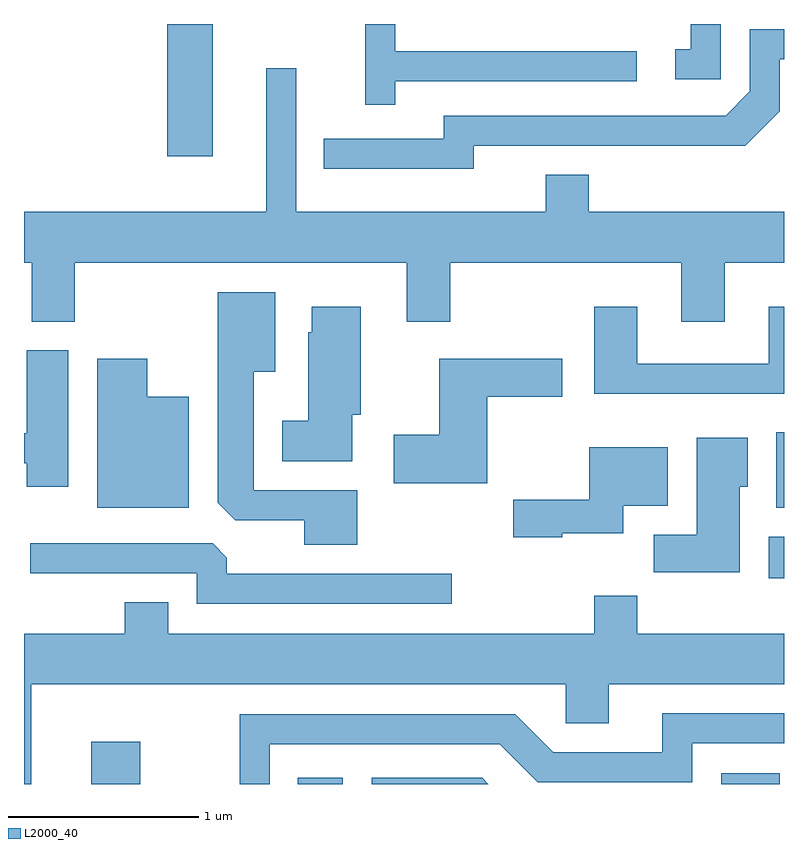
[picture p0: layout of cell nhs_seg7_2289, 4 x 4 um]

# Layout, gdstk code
import gdstk
lib = gdstk.Library(unit=1e-6, precision=1e-09)
def R(c, l, rs):  # rectangles x0, y0, x1, y1
    for r in rs: c.add(gdstk.rectangle(r[:2], r[2:], *l))
def P(c, l, *ps):  # polygons
    for p in ps: c.add(gdstk.Polygon(p, *l))
L2000_40 = (2000, 40)

nhs_seg7_2289 = lib.new_cell('nhs_seg7_2289')
R(nhs_seg7_2289, L2000_40, [(255.966,1698.252,256.224,1698.474), (257.053,1698.252,257.289,1698.284), (259.281,1698.252,259.589,1698.309), (259.531,1699.336,259.611,1699.554), (259.571,1699.706,259.611,1700.104), (256.366,1701.556,256.604,1702.252)])
P(nhs_seg7_2289, L2000_40, [(259.279,1702.252),(259.121,1702.252),(259.121,1702.119),(259.038,1702.119),(259.038,1701.961),(259.279,1701.961)],
  [(257.564,1701.951),(258.837,1701.951),(258.837,1702.109),(257.564,1702.109),(257.564,1702.252),(257.406,1702.252),(257.406,1701.828),(257.564,1701.828)],
  [(257.979,1701.611),(259.407,1701.611),(259.589,1701.794),(259.589,1702.066),(259.611,1702.066),(259.611,1702.224),(259.431,1702.224),(259.431,1701.897),(259.304,1701.769),(257.821,1701.769),(257.821,1701.649),(257.188,1701.649),(257.188,1701.491),(257.979,1701.491)],
  [(255.879,1700.996),(257.626,1700.996),(257.626,1700.686),(257.854,1700.686),(257.854,1700.996),(259.071,1700.996),(259.071,1700.686),(259.299,1700.686),(259.299,1700.996),(259.611,1700.996),(259.611,1701.264),(258.584,1701.264),(258.584,1701.459),(258.356,1701.459),(258.356,1701.264),(257.044,1701.264),(257.044,1702.018),(256.886,1702.018),(256.886,1701.264),(255.611,1701.264),(255.611,1700.996),(255.651,1700.996),(255.651,1700.686),(255.879,1700.686)],
  [(257.364,1699.799),(256.819,1699.799),(256.819,1700.421),(256.934,1700.421),(256.934,1700.839),(256.631,1700.839),(256.631,1699.732),(256.722,1699.641),(257.086,1699.641),(257.086,1699.511),(257.364,1699.511)],
  [(259.611,1700.764),(259.531,1700.764),(259.531,1700.464),(258.839,1700.464),(258.839,1700.764),(258.611,1700.764),(258.611,1700.306),(259.611,1700.306)],
  [(257.339,1700.196),(257.384,1700.196),(257.384,1700.764),(257.126,1700.764),(257.126,1700.629),(257.106,1700.629),(257.106,1700.164),(256.971,1700.164),(256.971,1699.951),(257.339,1699.951)],
  [(255.844,1700.534),(255.626,1700.534),(255.626,1700.099),(255.611,1700.099),(255.611,1699.941),(255.626,1699.941),(255.626,1699.816),(255.844,1699.816)],
  [(256.479,1700.289),(256.259,1700.289),(256.259,1700.489),(255.996,1700.489),(255.996,1699.706),(256.479,1699.706)],
  [(258.049,1700.291),(258.444,1700.291),(258.444,1700.489),(257.796,1700.489),(257.796,1700.089),(257.556,1700.089),(257.556,1699.836),(258.049,1699.836)],
  [(259.379,1699.816),(259.419,1699.816),(259.419,1700.074),(259.151,1700.074),(259.151,1699.564),(258.926,1699.564),(258.926,1699.366),(259.379,1699.366)],
  [(258.444,1699.571),(258.764,1699.571),(258.764,1699.716),(258.999,1699.716),(258.999,1700.024),(258.586,1700.024),(258.586,1699.749),(258.186,1699.749),(258.186,1699.551),(258.444,1699.551)],
  [(257.863,1699.359),(256.679,1699.359),(256.679,1699.444),(256.604,1699.519),(255.643,1699.519),(255.643,1699.361),(256.521,1699.361),(256.521,1699.201),(257.863,1699.201)],
  [(255.649,1698.776),(258.461,1698.776),(258.461,1698.571),(258.689,1698.571),(258.689,1698.776),(259.611,1698.776),(259.611,1699.044),(258.839,1699.044),(258.839,1699.244),(258.611,1699.244),(258.611,1699.044),(256.369,1699.044),(256.369,1699.209),(256.141,1699.209),(256.141,1699.044),(255.611,1699.044),(255.611,1698.252),(255.649,1698.252)],
  [(256.904,1698.461),(258.114,1698.461),(258.314,1698.261),(259.129,1698.261),(259.129,1698.466),(259.611,1698.466),(259.611,1698.624),(258.971,1698.624),(258.971,1698.419),(258.397,1698.419),(258.197,1698.619),(256.746,1698.619),(256.746,1698.252),(256.904,1698.252)],
  [(258.022,1698.284),(257.441,1698.284),(257.441,1698.252),(258.054,1698.252)])

lib.write_gds('nhs_seg7_2289.gds')
